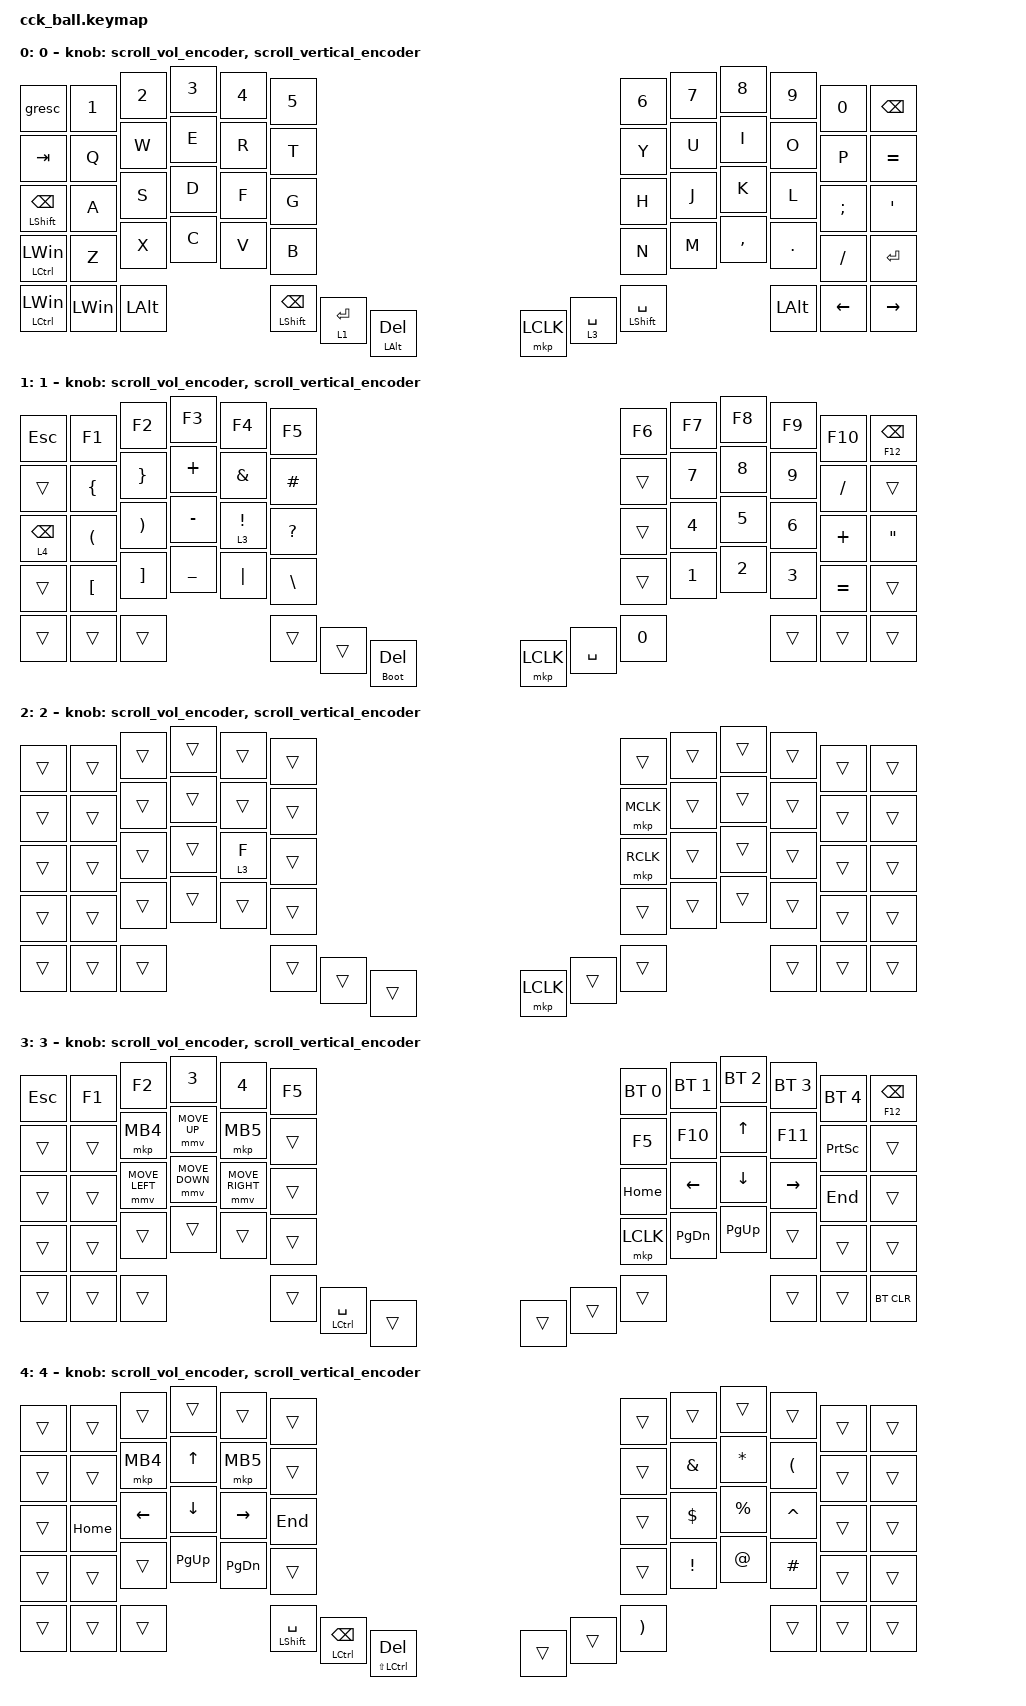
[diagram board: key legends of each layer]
#define ZMK_POINTING_DEFAULT_MOVE_VAL 1500 // 600
#define ZMK_POINTING_DEFAULT_SCRL_VAL 8   // 10

#include <input/processors.dtsi>
#include <zephyr/dt-bindings/input/input-event-codes.h>
#include <behaviors.dtsi>
#include <dt-bindings/zmk/bt.h>
#include <dt-bindings/zmk/keys.h>
#include <dt-bindings/zmk/pointing.h>

&mmv_input_listener { input-processors = <&zip_xy_scaler 2 1>;};

&msc_input_listener { input-processors = <&zip_scroll_scaler 2 1>; };

&msc {
    acceleration-exponent = <0>;      // 0
    time-to-max-speed-ms = <300>;       // 300
    delay-ms = <0>;                   // 0
};

&mmv {
    time-to-max-speed-ms = <500>;
    acceleration-exponent = <1>;
    trigger-period-ms = <16>;
};

/ {
    behaviors {
        st: space_tap {
            compatible = "zmk,behavior-hold-tap";
            #binding-cells = <2>;
            flavor = "tap-preferred";
            tapping-term-ms = <200>;
            bindings = <&kp>, <&kp>;
            display-name = "Space-Tap";
        };
    };
};

/ {
    behaviors {
        boot: bootloader_tap {
            compatible = "zmk,behavior-hold-tap";
            #binding-cells = <2>;
            flavor = "tap-preferred";
            tapping-term-ms = <200>;
            bindings = <&bootloader>, <&kp>;
            display-name = "Bootloader-Tap";
        };
    };
};

&mt {
    tapping-term-ms = <115>;
};

&lt {
    tapping-term-ms = <115>;
};

/ {
    macros {
        macro_send_str: macro_send_str {
            compatible = "zmk,behavior-macro";
            #binding-cells = <0>;
            wait-ms = <2>;
            bindings
               = <&macro_tap_time 1>,
                 <&macro_press &kp LSHFT>,
                 <&macro_tap &kp A>,
                 <&macro_release &kp LSHFT>,
                 <&macro_tap &kp A &kp N4 &kp N6 &kp N8 &kp N4 &kp N6 &kp N7 &kp N4 &kp N6 &kp N5 &kp N1 &kp N6 &kp DOT &kp ENTER>;
        };
        macro_permissive_alt_tab_left: macro_permissive_alt_tab_left {
            compatible = "zmk,behavior-macro";
            #binding-cells = <0>;
            wait-ms = <2>;
            bindings
               = <&macro_tap_time 5>,
                 <&macro_press &kp LALT>,
                 <&macro_tap &kp TAB>,
                 <&macro_pause_for_release>,
                 <&macro_release &kp LALT>;
        };
    };
};

/ {
    combos {
        compatible = "zmk,combos";
        combo_str {
            timeout-ms = <17>;
            key-positions = <0 2>;
            layers = <0>;
            bindings = <&macro_send_str>;
        };
        combo_ctrl_bsp {
            timeout-ms = <17>;
            key-positions = <26 27>;
            layers = <1>;
            bindings = <&kp LC(BSPC)>;
    };
        combo_forgiving_alt_tab {
            timeout-ms = <117>;
            slow-release;
            key-positions = <12 51>;
            layers = <0>;
            bindings = <&macro_permissive_alt_tab_left>;
        };
        combo_extended_alt_p {
            timeout-ms = <35>;
            require-prior-idle-ms = <350>;
            key-positions = <56 22>;
            layers = <0>;
            bindings = <&kp LA(P)>;
        };
        combo_bootLoader_right {
            timeout-ms = <35>;
            require-prior-idle-ms = <150>;
            key-positions = <54 56>;
            layers = <3>;
            bindings = <&bootloader>;
        };
    };
};

/ {
    // Up/down scrolling encoder behavior
    scroll_vertical_encoder: scroll_vertical_encoder {
        compatible = "zmk,behavior-sensor-rotate";
        #sensor-binding-cells = <0>;
        bindings = <&kp UP>, <&kp DOWN>;
        tap-ms = <50>;
    };

    // Scroll Encoder Behavior Left and Right
    scroll_vol_encoder: scroll_vol_encoder {
        compatible = "zmk,behavior-sensor-rotate";
        #sensor-binding-cells = <0>;
        bindings = <&kp C_VOL_UP>, <&kp C_VOL_DN>;
        tap-ms = <50>;
    };
    
    behaviors {};

    keymap {
        compatible = "zmk,keymap";

        0 {
            bindings = <
//┌────────┬────────┬────────┬────────┬────────┬────────┐                                     ┌────────┬────────┬────────┬────────┬────────┬────────┐
   &gresc   &kp N1   &kp N2   &kp N3   &kp N4   &kp N5                                         &kp N6   &kp N7   &kp N8   &kp N9   &kp N0  &kp BSPC
//├────────┼────────┼────────┼────────┼────────┼────────┤                                     ├────────┼────────┼────────┼────────┼────────┼────────┤
   &kp TAB   &kp Q    &kp W    &kp E    &kp R    &kp T                                          &kp Y    &kp U    &kp I    &kp O    &kp P   &kp EQUAL
//├────────┼────────┼────────┼────────┼────────┼────────┤                                     ├────────┼────────┼────────┼────────┼────────┼────────┤
&mt LSHFT BSPC  &kp A  &kp S   &kp D    &kp F    &kp G                                          &kp H    &kp J    &kp K     &kp L  &kp SEMI  &kp SQT
//├────────┼────────┼────────┼────────┼────────┼────────┤                                     ├────────┼────────┼────────┼────────┼────────┼────────┤
&mt LCTRL LWIN  &kp Z  &kp X    &kp C    &kp V    &kp B                                          &kp N    &kp M   &kp COMMA &kp DOT  &kp FSLH  &kp ENTER
//├────────┼────────┼────────┼────────┴────────┼────────┼────────┬────────┐ ┌────────┬────────┼────────┼────────┴────────┼────────┼────────┼────────┤
&mt LCTRL LWIN &kp LWIN &kp LALT      &mt LSHFT BSPC &lt 1 ENTER  &mt LALT DEL &mkp LCLK &lt 3 SPACE &st LSHFT SPACE      &kp LALT &kp LEFT &kp RIGHT
//└────────┴────────┴────────┘       [=]       └────────┴────────┴────────┘ └────────┴────────┴────────┘       [=]       └────────┴────────┴────────┘
            >;
        sensor-bindings = <&scroll_vol_encoder>, <&scroll_vertical_encoder>;
        };

        1 {
            bindings = <
//┌────────┬────────┬────────┬────────┬────────┬────────┐                                     ┌────────┬────────┬────────┬────────┬────────┬────────┐
   &kp ESC  &kp F1   &kp F2   &kp F3   &kp F4   &kp F5                                         &kp F6   &kp F7   &kp F8   &kp F9   &kp F10  &mt F12 BSPC
//├────────┼────────┼────────┼────────┼────────┼────────┤                                     ├────────┼────────┼────────┼────────┼────────┼────────┤
   &trans &kp LBRC  &kp RBRC   &kp PLUS &kp AMPS &kp HASH                                       &trans   &kp N7  &kp N8   &kp N9  &kp FSLH  &trans
//├────────┼────────┼────────┼────────┼────────┼────────┤                                     ├────────┼────────┼────────┼────────┼────────┼────────┤
&lt 4 BSPC &kp LPAR &kp RPAR   &kp MINUS &lt 3 EXCL &kp QMARK                                   &trans   &kp N4   &kp N5   &kp N6   &kp PLUS &kp DQT
//├────────┼────────┼────────┼────────┼────────┼────────┤                                     ├────────┼────────┼────────┼────────┼────────┼────────┤
   &trans  &kp LBKT  &kp RBKT  &kp UNDER &kp PIPE &kp BSLH                                     &trans    &kp N1   &kp N2   &kp N3   &kp EQUAL  &trans
//├────────┼────────┼────────┼────────┴────────┼────────┼────────┬────────┐ ┌────────┬────────┼────────┼────────┴────────┼────────┼────────┼────────┤
   &trans    &trans   &trans                      &trans &trans &boot 0 DEL  &mkp LCLK &kp SPACE &kp N0                    &trans   &trans   &trans
//└────────┴────────┴────────┘       [=]       └────────┴────────┴────────┘ └────────┴────────┴────────┘       [=]       └────────┴────────┴────────┘
            >;
        sensor-bindings = <&scroll_vol_encoder>, <&scroll_vertical_encoder>;
        };

        2 {
            bindings = <
//┌────────┬────────┬────────┬────────┬────────┬────────┐                                     ┌────────┬────────┬────────┬────────┬────────┬────────┐
    &trans   &trans   &trans   &trans   &trans   &trans                                         &trans   &trans   &trans   &trans   &trans   &trans
//├────────┼────────┼────────┼────────┼────────┼────────┤                                     ├────────┼────────┼────────┼────────┼────────┼────────┤
    &trans   &trans   &trans   &trans   &trans   &trans                                        &mkp MCLK &trans   &trans   &trans   &trans   &trans
//├────────┼────────┼────────┼────────┼────────┼────────┤                                     ├────────┼────────┼────────┼────────┼────────┼────────┤
    &trans   &trans   &trans   &trans   &lt 3 F  &trans                                        &mkp RCLK &trans   &trans   &trans   &trans   &trans
//├────────┼────────┼────────┼────────┼────────┼────────┤                                     ├────────┼────────┼────────┼────────┼────────┼────────┤
    &trans   &trans   &trans   &trans   &trans   &trans                                         &trans   &trans   &trans   &trans   &trans   &trans
//├────────┼────────┼────────┼────────┴────────┼────────┼────────┬────────┐ ┌────────┬────────┼────────┼────────┴────────┼────────┼────────┼────────┤
    &trans   &trans   &trans                     &trans   &trans   &trans    &mkp LCLK &trans   &trans                     &trans   &trans   &trans
//└────────┴────────┴────────┘       [=]       └────────┴────────┴────────┘ └────────┴────────┴────────┘       [=]       └────────┴────────┴────────┘
            >;
        sensor-bindings = <&scroll_vol_encoder>, <&scroll_vertical_encoder>;
        };

        3 {
            bindings = <
//┌────────┬────────┬────────┬────────┬────────┬────────┐                                     ┌────────┬────────┬────────┬────────┬────────┬────────┐
    &kp ESC  &kp F1   &kp F2   &kp N3   &kp N4   &kp F5                                  &bt BT_SEL 0 &bt BT_SEL 1 &bt BT_SEL 2 &bt BT_SEL 3 &bt BT_SEL 4 &mt F12 BSPC
//├────────┼────────┼────────┼────────┼────────┼────────┤                                     ├────────┼────────┼────────┼────────┼────────┼────────┤
   &trans  &trans  &mkp MB4 &mmv MOVE_UP &mkp MB5 &trans                                         &kp F5  &kp F10 &kp UP &kp F11 &kp PSCRN   &trans
//├────────┼────────┼────────┼────────┼────────┼────────┤                                     ├────────┼────────┼────────┼────────┼────────┼────────┤
&trans &trans &mmv MOVE_LEFT &mmv MOVE_DOWN &mmv MOVE_RIGHT &trans                             &kp HOME  &kp LEFT &kp DOWN &kp RIGHT &kp END &trans
//├────────┼────────┼────────┼────────┼────────┼────────┤                                     ├────────┼────────┼────────┼────────┼────────┼────────┤
    &trans   &trans   &trans &trans    &trans   &trans                                       &mkp LCLK &kp PG_DN &kp PG_UP &trans   &trans   &trans
//├────────┼────────┼────────┼────────┴────────┼────────┼────────┬────────┐ ┌────────┬────────┼────────┼────────┴────────┼────────┼────────┼────────┤
    &trans   &trans   &trans                  &trans &mt LCTRL SPACE &trans   &trans  &trans    &trans                     &trans   &trans   &bt BT_CLR
//└────────┴────────┴────────┘       [=]       └────────┴────────┴────────┘ └────────┴────────┴────────┘       [=]       └────────┴────────┴────────┘
            >;
        sensor-bindings = <&scroll_vol_encoder>, <&scroll_vertical_encoder>;
        };

        4 {
            bindings = <
//┌────────┬────────┬────────┬────────┬────────┬────────┐                                     ┌────────┬────────┬────────┬────────┬────────┬────────┐
    &trans   &trans   &trans   &trans   &trans   &trans                                         &trans   &trans   &trans   &trans   &trans   &trans
//├────────┼────────┼────────┼────────┼────────┼────────┤                                     ├────────┼────────┼────────┼────────┼────────┼────────┤
   &trans   &trans &mkp MB4 &kp UP   &mkp MB5   &trans                                          &trans &kp AMPS  &kp STAR &kp LPAR &trans   &trans
//├────────┼────────┼────────┼────────┼────────┼────────┤                                     ├────────┼────────┼────────┼────────┼────────┼────────┤
    &trans  &kp HOME  &kp LEFT &kp DOWN &kp RIGHT &kp END                                      &trans   &kp DLLR &kp PRCNT &kp CARET &trans   &trans
//├────────┼────────┼────────┼────────┼────────┼────────┤                                     ├────────┼────────┼────────┼────────┼────────┼────────┤
   &trans   &trans   &trans  &kp PG_UP &kp PG_DN &trans                                         &trans &kp EXCL &kp AT   &kp HASH   &trans   &trans
//├────────┼────────┼────────┼────────┴────────┼────────┼────────┬────────┐ ┌────────┬────────┼────────┼────────┴────────┼────────┼────────┼────────┤
    &trans   &trans   &trans &mt LSHFT SPACE &mt LCTRL BSPC &mt LS(LCTRL) DEL &trans   &trans   &kp RPAR                   &trans   &trans   &trans
//└────────┴────────┴────────┘       [=]       └────────┴────────┴────────┘ └────────┴────────┴────────┘       [=]       └────────┴────────┴────────┘
            >;
            sensor-bindings = <&scroll_vol_encoder>, <&scroll_vertical_encoder>;
        };
    };
};
